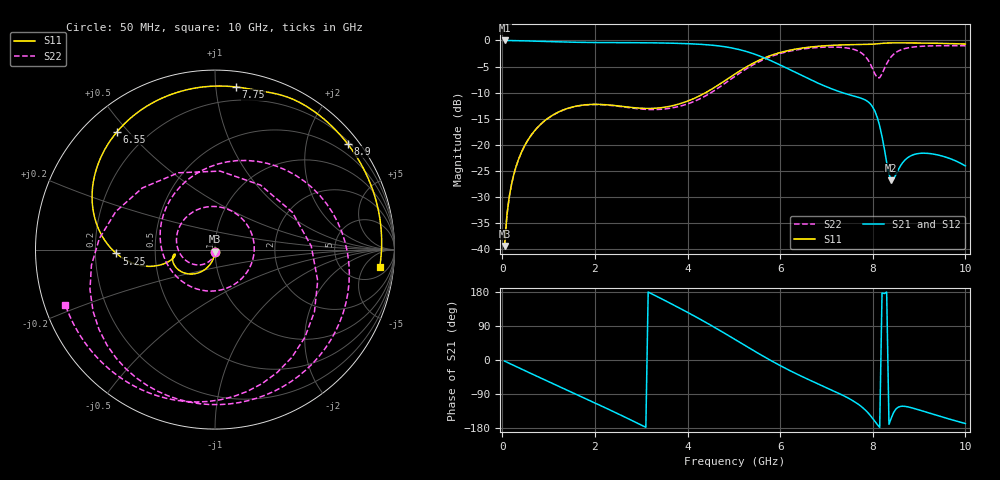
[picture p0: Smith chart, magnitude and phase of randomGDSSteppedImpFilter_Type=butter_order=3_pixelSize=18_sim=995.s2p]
! freq	dB(S11)	phase(S11)	dB(S12)	phase(S12)
!  dB(S21)	phase(S21)	dB(S22)	phase(S22)
!S-par simulation data
#  GHz  S  DB  R 50
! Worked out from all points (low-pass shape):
!   200 points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, 50 MHz to 10 GHz, reference 50 ohm
!   highest |S21| = -0.01 dB at 50 MHz (marker M1); lowest = -26.8 dB at 8.4 GHz (marker M2)
!   |S21| within 3 dB of the highest: start of sweep to 5.563 GHz
!   lowest |S11| = -39.4 dB at 50 MHz (marker M3), VSWR 1.02, Z = 50 - j1.07 ohm
!   |S11| at or under -10 dB: start of sweep to 4.392 GHz
!   |S22| runs from -39.4 to -1.0 dB; largest |S21 - S12| = 0
!   S11 on the Smith chart (normalised r, x): 50 MHz: 1.00, -0.02; 5.25 GHz: 0.29, -0.02; 6.55 GHz: 0.10, +0.47; 7.75 GHz: 0.10, +1.13; 8.9 GHz: 0.26, +2.84; 10 GHz: 9, -12
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0.05  -39.40 -91.2  -0.01 -2.9  -0.01 -2.9  -39.42 -92.8
0.2  -27.53 -98.5  -0.03 -11.6  -0.03 -11.6  -27.56 -104.6
0.5  -19.89 -111.6  -0.08 -28.8  -0.08 -28.8  -19.92 -126.9
1.15  -14.00 -137.2  -0.26 -65.6  -0.26 -65.6  -14.03 -175.2
1.75  -12.38 -156.7  -0.38 -99.2  -0.38 -99.2  -12.41 137.1
2.65  -12.70 -173.0  -0.43 -150.8  -0.43 -150.8  -12.78 51.0
3.4  -12.92 -171.0  -0.48 164.0  -0.48 164.0  -13.21 -40.7
4.3  -10.44 -164.4  -0.76 105.7  -0.76 105.7  -11.05 -165.3
5.05  -6.29 -172.1  -1.62 52.4  -1.62 52.4  -6.72 94.0
5.25  -5.19 -177.8  -2.07 37.7  -2.07 37.7  -5.55 70.2
5.9  -2.58 157.2  -4.28 -8.2  -4.28 -8.2  -2.79 3.4
6.55  -1.37 129.7  -7.08 -48.1  -7.08 -48.1  -1.56 -49.1
6.7  -1.22 123.5  -7.71 -56.5  -7.71 -56.5  -1.43 -60.0
7.3  -0.87 99.7  -9.88 -89.9  -9.88 -89.9  -1.32 -103.7
7.75  -0.78 82.7  -11.08 -122.6  -11.08 -122.6  -2.37 -153.2
7.95  -0.75 75.6  -12.18 -146.7  -12.18 -146.7  -4.55 159.1
8.1  -0.65 70.3  -14.82 -170.6  -14.82 -170.6  -7.17 86.2
8.25  -0.53 64.5  -20.79 175.5  -20.79 175.5  -5.41 2.0
8.35  -0.49 60.4  -25.62 -169.6  -25.62 -169.6  -3.70 -32.0
8.4  -0.48 58.3  -26.76 -153.4  -26.76 -153.4  -3.10 -44.3
8.9  -0.49 38.6  -21.83 -128.2  -21.83 -128.2  -1.24 -104.7
10  -0.70 -5.9  -24.05 -167.6  -24.05 -167.6  -1.02 -159.8
